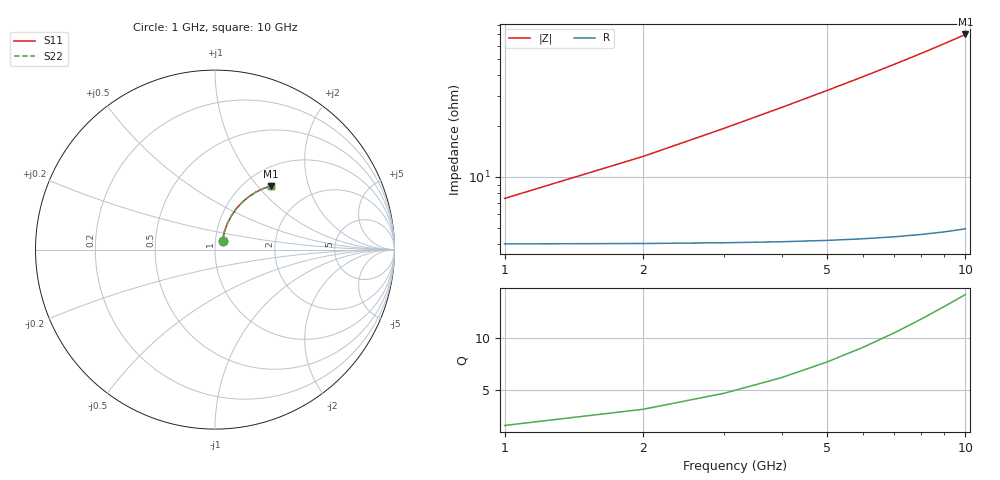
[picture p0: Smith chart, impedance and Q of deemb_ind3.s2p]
! Created Tue Nov  2 11:42:03 2021
# hz S ma R 50
! 2 Port Network Data from SP1.SP block
! freq  magS11  angS11  magS21  angS21  magS12  angS12  magS22  angS22
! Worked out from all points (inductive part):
!   10 points, 1 GHz to 10 GHz, reference 50 ohm
!   read as 1/Y11, port 2 shorted: L = 1.01 nH near 2 GHz
!   highest Q = 14.2 at 10 GHz (marker M1), where L = 1.11 nH
1e9  0.06529 50.0  0.9602 -3.9  0.9602 -3.9  0.06529 50.0
2e9  0.1119 62.2  0.9562 -7.8  0.9562 -7.8  0.1119 62.2
3e9  0.1613 64.7  0.9496 -11.7  0.9496 -11.7  0.1613 64.7
4e9  0.2105 64.1  0.9407 -15.6  0.9407 -15.6  0.2105 64.1
5e9  0.2586 62.4  0.9295 -19.3  0.9295 -19.3  0.2586 62.4
6e9  0.3052 60.1  0.9163 -23.0  0.9163 -23.0  0.3052 60.1
7e9  0.3499 57.4  0.9013 -26.7  0.9013 -26.7  0.3499 57.4
8e9  0.3926 54.6  0.8849 -30.2  0.8849 -30.2  0.3926 54.6
9e9  0.433 51.7  0.8672 -33.7  0.8672 -33.7  0.433 51.7
1e10  0.4711 48.8  0.8486 -37.0  0.8486 -37.0  0.4711 48.8
